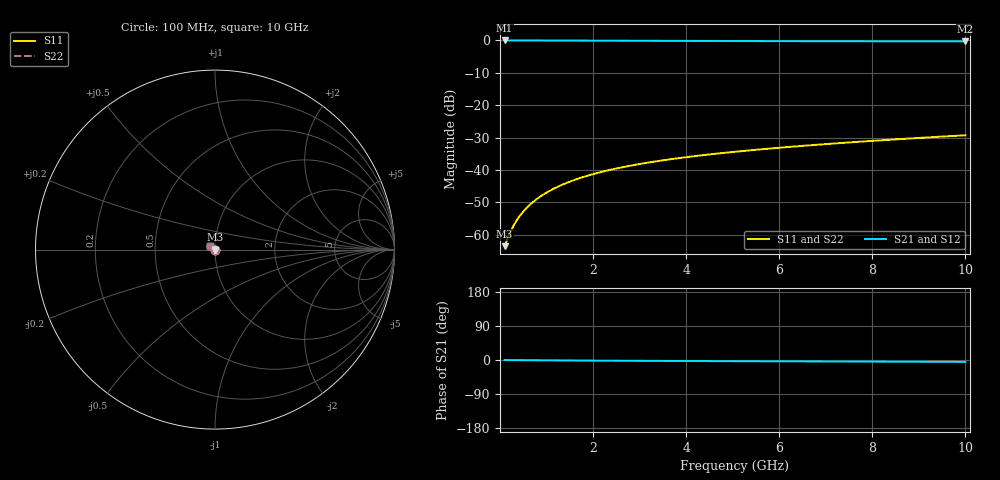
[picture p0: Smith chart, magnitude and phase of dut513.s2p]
! Touchstone file exported from HFSS 2024.1.0
!  File:  C:/UserFiles/LocalFiles/RDL_TSV_Batchsim/temp_TSV1_513_1779702766.aedt
!  Generated:  06:00:38 PM May 25, 2026
!  Design:  TSV1
!  Project:  temp_TSV1_513_1779702766
!  Setup:  Setup1
!  Solution:  Sweep
! Variables:
!  dtsv = 5.04um
!  hbump = 3um
!  htsv = 70.81um
!  lrdl = 252.1521522um
!  p = 40
!  p1 = 46.82um
!  t = 500um
!  trdl = 3um
!  wrdl = 24.89489489um
# GHz S MA R 50.000000
! Terminal data exported
! Port[1] = TSV22_T1
! Port[2] = TSV22_T2
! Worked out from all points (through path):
!   100 points, 100 MHz to 10 GHz, reference 50 ohm
!   highest |S21| = 0.00 dB at 100 MHz (marker M1); lowest = -0.3 dB at 10 GHz (marker M2)
!   lowest |S11| = -63.5 dB at 100 MHz (marker M3), VSWR 1.00, Z = 50 - j0.0463 ohm
!   |S11| at or under -10 dB: start of sweep to end of sweep
!   |S22| runs from -63.5 to -29.3 dB; largest |S21 - S12| = 2.3e-15
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0.1  0.0006683 -43.8  0.9995 -0.1  0.9995 -0.1  0.0006683 -43.8
! Gamma 0 0 0 0
! Port Impedance 50 0 50 0
0.2  0.001015 -65.5  0.9994 -0.2  0.9994 -0.2  0.001015 -65.5
0.3  0.001421 -77.0  0.9993 -0.3  0.9993 -0.3  0.001421 -77.0
0.4  0.001848 -84.3  0.9992 -0.4  0.9992 -0.4  0.001848 -84.3
0.5  0.002284 -89.7  0.999 -0.4  0.999 -0.4  0.002284 -89.7
0.6  0.002724 -94.1  0.9988 -0.5  0.9988 -0.5  0.002724 -94.1
0.7  0.003166 -97.8  0.9985 -0.6  0.9985 -0.6  0.003166 -97.8
0.8  0.003606 -101.2  0.9982 -0.7  0.9982 -0.7  0.003606 -101.2
0.9  0.004044 -104.3  0.9979 -0.8  0.9979 -0.8  0.004044 -104.3
1  0.00448 -107.2  0.9976 -0.9  0.9976 -0.9  0.00448 -107.2
1.2  0.005343 -112.6  0.9968 -1.0  0.9968 -1.0  0.005343 -112.6
1.5  0.00661 -120.1  0.9956 -1.3  0.9956 -1.3  0.00661 -120.1
1.8  0.007839 -127.0  0.9941 -1.5  0.9941 -1.5  0.007839 -127.0
2.1  0.00903 -133.4  0.9926 -1.7  0.9926 -1.7  0.00903 -133.4
2.5  0.01056 -141.5  0.9905 -1.9  0.9905 -1.9  0.01056 -141.5
2.9  0.01202 -148.9  0.9884 -2.2  0.9884 -2.2  0.01202 -148.9
3.4  0.01377 -157.4  0.9859 -2.4  0.9859 -2.4  0.01377 -157.4
4.2  0.01643 -169.4  0.9821 -2.8  0.9821 -2.8  0.01643 -169.4
5.1  0.01929 179.2  0.9786 -3.1  0.9786 -3.1  0.01929 179.2
6.7  0.02421 163.2  0.9739 -3.7  0.9739 -3.7  0.02421 163.2
8.4  0.02942 150.6  0.9704 -4.3  0.9704 -4.3  0.02942 150.6
10  0.03439 141.6  0.968 -4.9  0.968 -4.9  0.03439 141.6
